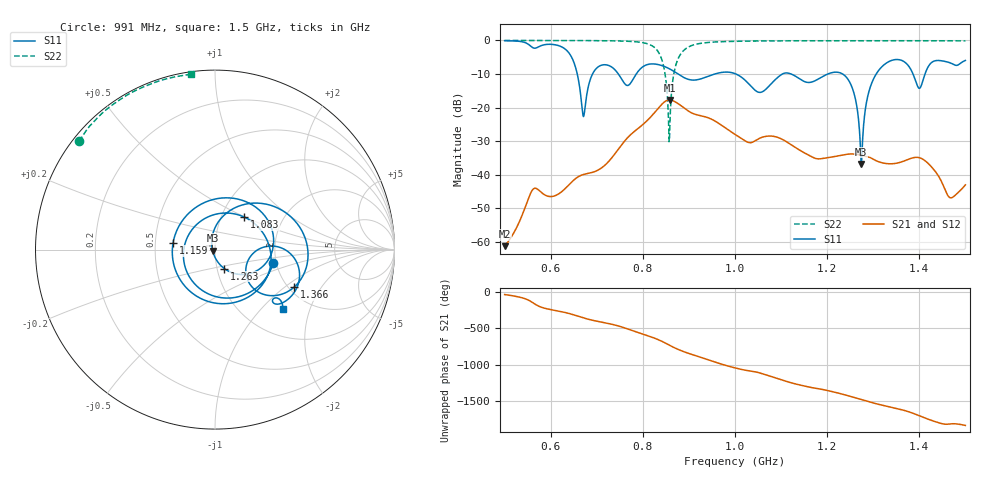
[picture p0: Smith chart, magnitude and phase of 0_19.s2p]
! TOUCHSTONE file generated by CST MICROWAVE STUDIO
! Date and time: Sat Oct 24 10:45:25 2020
! Project name: Scenario_1_Planar_Body_Tissue_Center.cst
! Parameters = {hfat=3; hmuscle=50; hskin=1.5; hgap=25; Wtissue=700; Ltissue=700; L_HA=400; MT=2.54; Rad_Dielectric=30; Rad_Lower=7.3; Rad_Upper=30; a_HA=580; a_WG=246; b_HA=500; b_WG=121; c_HA=0; c_WG=187; d_feed=85; dx1=484.76; h_feed=15; h_lower=18; h_upper=40}
! Header version: 2018
! Port assignment regex: !\s*Touchstone port\s*([0-9]+)\s*=\s*(CST MWS port|CST DS port)\s*([0-9]+|Zmin|Zmax)\s*\(\"(.*)\"\)(\s*mode\s*([0-9]+))?.*
! Touchstone port assignment:
! Touchstone port 1 = CST MWS port 1 ("")
! Touchstone port 2 = CST MWS port 2 ("")
# GHz S DB R 50
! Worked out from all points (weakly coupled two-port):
!   1003 points, 500 MHz to 1.5 GHz, reference 50 ohm
!   highest |S21| = -17.74 dB at 858 MHz (marker M1); lowest = -61.3 dB at 500 MHz (marker M2)
!   lowest |S11| = -36.8 dB at 1.274 GHz (marker M3), VSWR 1.03, Z = 48.7 - j0.492 ohm
!   |S11| at or under -10 dB: 876.4 MHz to 956 MHz (79.62 MHz wide, 8.69 % of centre); 1.002 GHz to 1.103 GHz (100.9 MHz wide, 9.59 % of centre); 1.122 GHz to 1.201 GHz (79.51 MHz wide, 6.85 % of centre) (the widest 3 of 7)
!   |S22| runs from -30.2 to 0.0 dB; largest |S21 - S12| = 6e-06
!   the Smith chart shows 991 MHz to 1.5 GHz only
!   S11 on the Smith chart (normalised r, x): 991 MHz: 1.92, -0.33; 1.083 GHz: 1.28, +0.49; 1.159 GHz: 0.62, +0.05; 1.263 GHz: 1.08, -0.23; 1.366 GHz: 2.14, -1.17; 1.5 GHz: 1.50, -1.34
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0.5  -0.08 -121.7  -61.28 -34.3  -61.28 -34.3  -0.01 151.1
0.562  -2.22 -153.3  -44.28 -150.1  -44.28 -150.1  -0.01 146.9
0.609  -1.28 178.7  -46.27 106.9  -46.27 106.9  -0.02 143.4
0.667  -18.62 109.7  -40.12 11.6  -40.12 11.6  -0.04 138.4
0.737  -8.42 95.9  -34.19 -90.6  -34.19 -90.6  -0.13 129.8
0.782  -10.81 -113.1  -27.06 178.2  -27.06 178.2  -0.36 119.6
0.834  -7.21 89.0  -20.10 62.0  -20.10 62.0  -3.52 83.0
0.858  -8.47 24.9  -17.74 -14.2  -17.74 -14.2  -28.71 -88.6
0.886  -10.81 -57.7  -19.73 -95.5  -19.73 -95.5  -3.37 -180.0
0.926  -11.44 168.8  -22.43 -178.9  -22.43 -178.9  -0.85 155.8
0.991  -9.54 -13.1  -27.18 49.1  -27.18 49.1  -0.30 141.4
1  -9.89 -35.5  -27.99 34.3  -27.99 34.3  -0.27 140.2
1.083  -12.26 48.0  -28.54 -94.6  -28.54 -94.6  -0.13 131.2
1.125  -10.19 -76.1  -31.34 -176.6  -31.34 -176.6  -0.11 127.5
1.159  -12.52 170.7  -34.10 132.2  -34.10 132.2  -0.10 124.8
1.167  -12.37 144.4  -34.68 121.9  -34.68 121.9  -0.10 124.2
1.263  -18.58 -63.9  -33.90 -22.9  -33.90 -22.9  -0.08 116.8
1.274  -36.83 -159.5  -34.20 -43.3  -34.20 -43.3  -0.08 116.0
1.295  -13.33 72.1  -34.99 -81.9  -34.99 -81.9  -0.08 114.4
1.334  -6.30 16.2  -36.74 -140.2  -36.74 -140.2  -0.09 111.5
1.366  -6.24 -25.4  -35.96 170.1  -35.96 170.1  -0.09 109.0
1.5  -5.96 -41.5  -43.02 -39.7  -43.01 -39.7  -0.12 97.9
